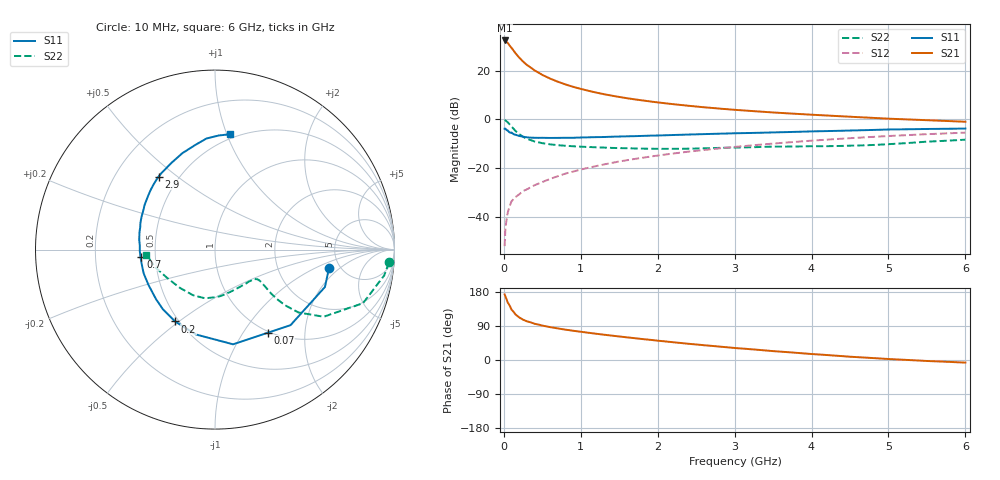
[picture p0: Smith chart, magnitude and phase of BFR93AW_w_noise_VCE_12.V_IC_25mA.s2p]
! Infineon Technologies  Discrete & RF Semiconductors
! BFR93AW
! VCE =  12. V,  IC =  25 mA
! Common Emitter S-Parameters:  Jan 2017
# GHz  S  MA  R  50
!  f  S11  S21  S12  S22
! GHz  MAG  ANG  MAG  ANG  MAG  ANG  MAG  ANG
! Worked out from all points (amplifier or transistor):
!   77 points, 10 MHz to 6 GHz, reference 50 ohm
!   highest |S21| = 32.4 dB at 10 MHz (marker M1)
!   |S21| within 3 dB of that: start of sweep to 98.72 MHz
!   unconditionally stable (mu >= 1): 662.8 MHz to 2.081 GHz
!   at 130 MHz: K = 0.46, MSG = 30.3 dB, |S12| = -32.6 dB
!   at 2.2 GHz: K = 0.99, MSG = 10.1 dB, |S12| = -14.0 dB
!   at 6 GHz: K = 0.85, MSG = 2.2 dB, |S12| = -5.4 dB
!   lowest NFmin = 1.66 dB at 450 MHz
!   S11 on the Smith chart (normalised r, x): 10 MHz: 4.06, -1.46; 70 MHz: 0.98, -1.30; 200 MHz: 0.48, -0.48; 700 MHz: 0.41, -0.04; 2.9 GHz: 0.39, +0.43; 6 GHz: 0.46, +1.03
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0.01  0.6436 -9.4  41.72 173.2  0.0025 78.7  0.9721 -4.2
0.02  0.6469 -18.8  41.3 167.9  0.0055 80.3  0.9536 -8.7
0.05  0.5953 -45.0  37.28 152.1  0.012 70.8  0.8769 -19.9
0.07  0.5484 -57.7  33.68 145.5  0.0155 67.0  0.8071 -24.0
0.1  0.5373 -79.2  29.37 132.8  0.0209 63.7  0.7121 -31.7
0.15  0.4846 -102.6  22.98 120.5  0.0253 58.1  0.5819 -37.0
0.2  0.458 -119.0  18.5 112.3  0.029 59.3  0.4971 -38.5
0.25  0.4415 -131.0  15.4 106.4  0.0339 58.2  0.4402 -38.6
0.3  0.4292 -140.0  13.09 102.1  0.0367 59.3  0.3995 -38.1
0.4  0.4196 -152.5  10.12 95.6  0.0446 62.6  0.352 -36.6
0.5  0.4188 -161.8  8.191 90.8  0.0517 64.1  0.3249 -35.6
0.6  0.4162 -168.6  6.897 86.8  0.06 65.9  0.3079 -34.9
0.7  0.4172 -174.1  5.946 83.4  0.0681 67.7  0.2957 -34.8
0.9  0.4195 176.9  4.664 77.2  0.0848 68.6  0.2812 -35.8
1.1  0.4288 169.4  3.862 71.9  0.1017 68.9  0.2717 -38.1
1.5  0.4451 157.8  2.889 62.1  0.1369 68.3  0.2574 -45.2
2.1  0.4724 143.5  2.142 49.0  0.1901 65.0  0.2486 -61.2
2.9  0.5137 127.6  1.62 33.6  0.263 58.8  0.2621 -85.4
3.1  0.5224 123.8  1.533 30.2  0.2815 57.0  0.2658 -90.9
4.1  0.5713 107.1  1.225 14.5  0.3749 47.5  0.2817 -119.1
5.1  0.6232 93.1  1.02 1.6  0.4636 36.8  0.3164 -152.9
6  0.6486 82.4  0.895 -6.9  0.5352 26.6  0.3836 -175.8
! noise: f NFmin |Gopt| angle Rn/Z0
0.45  1.66  0.17  171  0.16
0.9  1.93  0.25  -177  0.16
1.9  2.93  0.49  -136  0.25
2.4  3.59  0.55  -125  0.5
